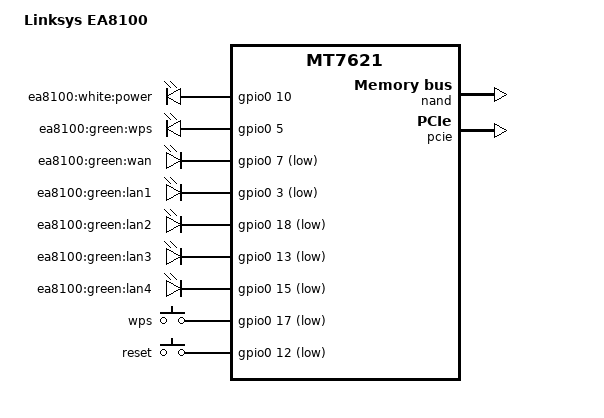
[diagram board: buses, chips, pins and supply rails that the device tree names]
/dts-v1/;

#include "mt7621.dtsi"

#include <dt-bindings/gpio/gpio.h>
#include <dt-bindings/input/input.h>

/ {
	compatible = "linksys,ea8100", "mediatek,mt7621-soc";
	model = "Linksys EA8100";

	aliases {
		led-boot = &led_power;
		led-failsafe = &led_power;
		led-running = &led_power;
		led-upgrade = &led_power;
	};

	chosen {
		bootargs = "console=ttyS0,115200n8 root=/dev/ubiblock0_0";
		append-rootblock = "ubi.mtd=";
	};

	leds {
		compatible = "gpio-leds";

		led_power: power {
			label = "ea8100:white:power";
			gpios = <&gpio0 10 GPIO_ACTIVE_HIGH>;
		};

		wps {
			label = "ea8100:green:wps";
			gpios = <&gpio0 5 GPIO_ACTIVE_HIGH>;
		};

		wan {
			label = "ea8100:green:wan";
			gpios = <&gpio0 7 GPIO_ACTIVE_LOW>;
		};

		lan1 {
			label = "ea8100:green:lan1";
			gpios = <&gpio0 3 GPIO_ACTIVE_LOW>;
		};

		lan2 {
			label = "ea8100:green:lan2";
			gpios = <&gpio0 18 GPIO_ACTIVE_LOW>;
		};

		lan3 {
			label = "ea8100:green:lan3";
			gpios = <&gpio0 13 GPIO_ACTIVE_LOW>;
		};

		lan4 {
			label = "ea8100:green:lan4";
			gpios = <&gpio0 15 GPIO_ACTIVE_LOW>;
		};
	};

	keys {
		compatible = "gpio-keys";

		wps {
			label = "wps";
			gpios = <&gpio0 17 GPIO_ACTIVE_LOW>;
			linux,code = <KEY_WPS_BUTTON>;
		};

		reset {
			label = "reset";
			gpios = <&gpio0 12 GPIO_ACTIVE_LOW>;
			linux,code = <KEY_RESTART>;
		};
	};
};

&nand {
	status = "okay";

	partition@0 {
		label = "uboot";
		reg = <0x00000 0x80000>;
	};

	partition@80000 {
		label = "uboot_env";
		reg = <0x80000 0x40000>;
	};

	factory: partition@c0000 {
		label = "factory";
		reg = <0xc0000 0x40000>;
	};

	partition@100000 {
		label = "s_env";
		reg = <0x100000 0x40000>;
	};

	partition@140000 {
		label = "devinfo";
		reg = <0x140000 0x40000>;
	};

	partition@180000 {
		label = "kernel1";
		reg = <0x180000 0x2800000>;
	};

	partition@580000 {
		label = "rootfs1";
		reg = <0x580000 0x2400000>;
	};

	partition@2980000 {
		label = "kernel2";
		reg = <0x2980000 0x2800000>;
	};

	partition@2d80000 {
		label = "rootfs2";
		reg = <0x2d80000 0x2400000>;
	};

	partition@5180000 {
		label = "sysdiag";
		reg = <0x5180000 0x100000>;
		read-only;
	};

	partition@5280000 {
		label = "syscfg";
		reg = <0x5280000 0x2d00000>;
		read-only;
	};
};

&pinctrl {
	state_default: pinctrl0 {
		gpio {
			ralink,group = "i2c", "uart2", "uart3", "jtag", "wdt";
			ralink,function = "gpio";
		};
	};
};

&pcie {
	status = "okay";
};

&pcie0 {
	mt76@0,0 {
		reg = <0x0000 0 0 0 0>;
		mediatek,mtd-eeprom = <&factory 0x0000>;
	};
};

&pcie1 {
	mt76@0,0 {
		reg = <0x0000 0 0 0 0>;
		mediatek,mtd-eeprom = <&factory 0x8000>;
	};
};
